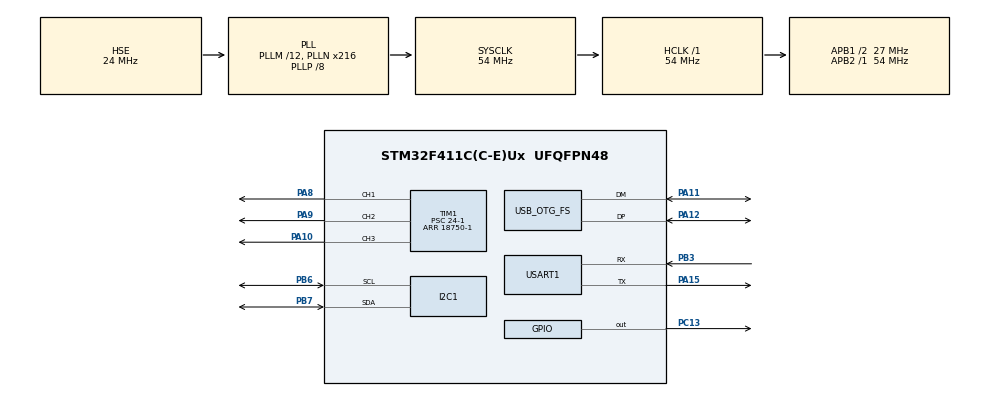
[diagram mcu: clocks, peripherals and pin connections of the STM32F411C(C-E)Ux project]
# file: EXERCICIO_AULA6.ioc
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Mcu.Family=STM32F4
Mcu.Name=STM32F411C(C-E)Ux
Mcu.Package=UFQFPN48
NVIC.OTG_FS_IRQn=true\:0\:0\:true\:false\:true\:false\:true\:true
NVIC.PriorityGroup=NVIC_PRIORITYGROUP_4
PA10.Signal=S_TIM1_CH3
PA11.Mode=Device_Only
PA11.Signal=USB_OTG_FS_DM
PA12.Mode=Device_Only
PA12.Signal=USB_OTG_FS_DP
PA13.Mode=Serial_Wire
PA13.Signal=SYS_JTMS-SWDIO
PA14.Mode=Serial_Wire
PA14.Signal=SYS_JTCK-SWCLK
PA15.Mode=Asynchronous
PA15.Signal=USART1_TX
PA2.Signal=S_TIM2_CH3
PA8.Signal=S_TIM1_CH1
PA9.Signal=S_TIM1_CH2
PB3.Mode=Asynchronous
PB3.Signal=USART1_RX
PB6.Mode=I2C
PB6.Signal=I2C1_SCL
PB7.Mode=I2C
PB7.Signal=I2C1_SDA
PC13-ANTI_TAMP.GPIO_PuPd=GPIO_PULLUP
PC13-ANTI_TAMP.Signal=GPIO_Output
PH0\ -\ OSC_IN.Mode=HSE-External-Oscillator
PH0\ -\ OSC_IN.Signal=RCC_OSC_IN
PH1\ -\ OSC_OUT.Mode=HSE-External-Oscillator
PH1\ -\ OSC_OUT.Signal=RCC_OSC_OUT
ProjectManager.HeapSize=0x200
ProjectManager.StackSize=0x400
ProjectManager.TargetToolchain=STM32CubeIDE
RCC.48MHZClocksFreq_Value=48000000
RCC.AHBFreq_Value=54000000
RCC.APB1CLKDivider=RCC_HCLK_DIV2
RCC.APB1Freq_Value=27000000
RCC.APB1TimFreq_Value=54000000
RCC.APB2Freq_Value=54000000
RCC.APB2TimFreq_Value=54000000
RCC.CortexFreq_Value=54000000
RCC.HCLKFreq_Value=54000000
RCC.HSE_VALUE=24000000
RCC.HSI_VALUE=16000000
RCC.LSE_VALUE=32768
RCC.PLLM=12
RCC.PLLN=216
RCC.PLLP=RCC_PLLP_DIV8
RCC.PLLQ=9
RCC.SYSCLKFreq_VALUE=54000000
RCC.SYSCLKSource=RCC_SYSCLKSOURCE_PLLCLK
RCC.VCOOutputFreq_Value=432000000
SH.S_TIM1_CH1.0=TIM1_CH1,Output Compare1 CH1
SH.S_TIM1_CH2.0=TIM1_CH2,Output Compare2 CH2
SH.S_TIM1_CH3.0=TIM1_CH3,Output Compare3 CH3
SH.S_TIM2_CH3.0=TIM2_CH3
TIM1.Channel-Output\ Compare1\ CH1=TIM_CHANNEL_1
TIM1.Channel-Output\ Compare2\ CH2=TIM_CHANNEL_2
TIM1.Channel-Output\ Compare3\ CH3=TIM_CHANNEL_3
TIM1.OCMode_1=TIM_OCMODE_TOGGLE
TIM1.OCMode_2=TIM_OCMODE_TOGGLE
TIM1.OCMode_3=TIM_OCMODE_TOGGLE
TIM1.OCPolarity_1=TIM_OCPOLARITY_LOW
TIM1.OCPolarity_2=TIM_OCPOLARITY_HIGH
TIM1.OCPolarity_3=TIM_OCPOLARITY_HIGH
TIM1.Period=18750-1
TIM1.Prescaler=24-1
TIM1.Pulse-Output\ Compare1\ CH1=9375-1
TIM1.Pulse-Output\ Compare2\ CH2=3125-1
TIM1.Pulse-Output\ Compare3\ CH3=15625-1
USART1.VirtualMode=VM_ASYNC
USB_DEVICE.CLASS_NAME_FS=CDC
USB_DEVICE.VirtualMode=Cdc
USB_DEVICE.VirtualModeFS=Cdc_FS
USB_OTG_FS.VirtualMode=Device_Only
VP_TIM1_VS_ClockSourceINT.Mode=Internal
VP_USB_DEVICE_VS_USB_DEVICE_CDC_FS.Mode=CDC_FS
board=custom

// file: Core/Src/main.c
/* USER CODE BEGIN Header */
/**
 ******************************************************************************
 * @file           : main.c
 * @brief          : Main program body
 ******************************************************************************
 * @attention
 *
 * Copyright (c) 2024 STMicroelectronics.
 * All rights reserved.
 *++++++++++++++
 * This software is licensed under terms that can be found in the LICENSE file
 * in the root directory of this software component.
 * If no LICENSE file comes with this software, it is provided AS-IS.
 *
 ******************************************************************************
 */
/* USER CODE END Header */
#include "main.h"
#include "usb_device.h"

/* USER CODE BEGIN PD */
#define RESPONSE_BUFFER_SIZE 5000
//#define COUNTER
#define GRAPH
//#define FREQLCD
//#define PHASELCD
//#define BLE
//#define FREQCOUNTER
/* USER CODE END PD */

I2C_HandleTypeDef hi2c1;

TIM_HandleTypeDef htim1;

UART_HandleTypeDef huart1;

/* USER CODE BEGIN PV */
HAL_StatusTypeDef RET;
uint16_t pinStateCH1, pinStateCH2, pinStateCH3;
float frequency, phaseDiff;
char buffer[64];
/* USER CODE END PV */

void SystemClock_Config(void);
static void MX_GPIO_Init(void);
static void MX_TIM1_Init(void);
static void MX_I2C1_Init(void);
static void MX_USART1_UART_Init(void);
/* USER CODE BEGIN PFP */
extern uint8_t CDC_Transmit_FS(uint8_t *Buf, uint16_t Len);
extern void lcd_send_cmd(char cmd);
extern void lcd_send_data(char data);
extern void lcd_clear(void);
extern void lcd_put_cur(int row, int col);
extern void lcd_init(void);
extern void lcd_send_string(char *str);
void sendATCommand(const char *command, uint32_t timeOut);
void USART_SendChar(char ch);
char USART_ReceiveChar(void);
/* USER CODE END PFP */

int main(void)
{

  /* MCU Configuration--------------------------------------------------------*/

  /* Reset of all peripherals, Initializes the Flash interface and the Systick. */
  HAL_Init();

  /* Configure the system clock */
  SystemClock_Config();

  /* Initialize all configured peripherals */
  MX_GPIO_Init();
  MX_USB_DEVICE_Init();
  MX_TIM1_Init();
  MX_I2C1_Init();
  MX_USART1_UART_Init();
  /* USER CODE BEGIN 2 */
	lcd_init();
	lcd_clear();

	if (HAL_TIM_OC_Start(&htim1, TIM_CHANNEL_1) == HAL_OK)
		if (HAL_TIM_OC_Start(&htim1, TIM_CHANNEL_2) == HAL_OK)
			if (HAL_TIM_OC_Start(&htim1, TIM_CHANNEL_3) == HAL_OK)
				HAL_GPIO_WritePin(GPIOC, GPIO_PIN_13, GPIO_PIN_RESET);

  /* USER CODE END 2 */

  /* Infinite loop */
  /* USER CODE BEGIN WHILE */
	while (1) {
		#if defined(COUNTER)
			sprintf(buffer, "CNT: %d\r\nCCR1: %d\r\nCCR2: %d\r\nCCR3: %d\r\n", TIM1->CNT, TIM1->CCR1, TIM1->CCR2, TIM1->CCR3);
			CDC_Transmit_FS(buffer, strlen(buffer));
		#elif defined(GRAPH)
			pinStateCH1 = HAL_GPIO_ReadPin(GPIOA, GPIO_PIN_8);
			pinStateCH2 = HAL_GPIO_ReadPin(GPIOA, GPIO_PIN_9);
			pinStateCH3 = HAL_GPIO_ReadPin(GPIOA, GPIO_PIN_10);
			sprintf(buffer, "%d\t%d\t%d\n", pinStateCH1, pinStateCH2, pinStateCH3);
			CDC_Transmit_FS((uint8_t *)buffer, strlen(buffer));
		#elif defined(FREQLCD)
			lcd_put_cur(0, 0);
			lcd_send_string("FREQ CH1: ");
			HAL_Delay(40);
			frequency = (float)HAL_RCC_GetPCLK2Freq() / (TIM1->PSC + 1) / (TIM1->ARR + 1) / 2;
			sprintf(buffer, "%.2f Hz", frequency);
			lcd_put_cur(0, 10);
			lcd_send_string(buffer);
			HAL_Delay(50);
		#elif defined(PHASELCD)
			lcd_put_cur(0, 0);
			lcd_send_string("PHASE CH1CH2: ");
			HAL_Delay(40);
			phaseDiff = (2.0 * (TIM1->ARR + 1) / 3.0) / ((2.0 * TIM1->ARR + 1)) * 360.0;
			sprintf(buffer, "%.2f", phaseDiff);
			lcd_put_cur(0, 14);
			lcd_send_string(buffer);
		#elif defined(BLE)
			pinStateCH1 = HAL_GPIO_ReadPin(GPIOA, GPIO_PIN_8);
			pinStateCH2 = HAL_GPIO_ReadPin(GPIOA, GPIO_PIN_9);
			pinStateCH3 = HAL_GPIO_ReadPin(GPIOA, GPIO_PIN_10);
			sprintf(buffer, "%d %d %d\r\n", pinStateCH1, pinStateCH2, pinStateCH3);
			HAL_UART_Transmit(&huart1, (uint8_t *)buffer, strlen(buffer), 50);
		#elif defined(FREQCOUNTER)
			pinStateCH1 = HAL_GPIO_ReadPin(GPIOA, GPIO_PIN_8);
			sprintf(buffer, "%d\n", pinStateCH1);
			CDC_Transmit_FS((uint8_t *)buffer, strlen(buffer));
		#endif
    /* USER CODE END WHILE */

	}
}

void SystemClock_Config(void)
{
  RCC_OscInitTypeDef RCC_OscInitStruct = {0};
  RCC_ClkInitTypeDef RCC_ClkInitStruct = {0};

  /** Configure the main internal regulator output voltage
  */
  __HAL_RCC_PWR_CLK_ENABLE();
  __HAL_PWR_VOLTAGESCALING_CONFIG(PWR_REGULATOR_VOLTAGE_SCALE1);

  /** Initializes the RCC Oscillators according to the specified parameters
  * in the RCC_OscInitTypeDef structure.
  */
  RCC_OscInitStruct.OscillatorType = RCC_OSCILLATORTYPE_HSE;
  RCC_OscInitStruct.HSEState = RCC_HSE_ON;
  RCC_OscInitStruct.PLL.PLLState = RCC_PLL_ON;
  RCC_OscInitStruct.PLL.PLLSource = RCC_PLLSOURCE_HSE;
  RCC_OscInitStruct.PLL.PLLM = 12;
  RCC_OscInitStruct.PLL.PLLN = 216;
  RCC_OscInitStruct.PLL.PLLP = RCC_PLLP_DIV8;
  RCC_OscInitStruct.PLL.PLLQ = 9;
  if (HAL_RCC_OscConfig(&RCC_OscInitStruct) != HAL_OK)
  {
    Error_Handler();
  }

  /** Initializes the CPU, AHB and APB buses clocks
  */
  RCC_ClkInitStruct.ClockType = RCC_CLOCKTYPE_HCLK|RCC_CLOCKTYPE_SYSCLK
                              |RCC_CLOCKTYPE_PCLK1|RCC_CLOCKTYPE_PCLK2;
  RCC_ClkInitStruct.SYSCLKSource = RCC_SYSCLKSOURCE_PLLCLK;
  RCC_ClkInitStruct.AHBCLKDivider = RCC_SYSCLK_DIV1;
  RCC_ClkInitStruct.APB1CLKDivider = RCC_HCLK_DIV2;
  RCC_ClkInitStruct.APB2CLKDivider = RCC_HCLK_DIV1;

  if (HAL_RCC_ClockConfig(&RCC_ClkInitStruct, FLASH_LATENCY_1) != HAL_OK)
  {
    Error_Handler();
  }
}

static void MX_I2C1_Init(void)
{

  hi2c1.Instance = I2C1;
  hi2c1.Init.ClockSpeed = 100000;
  hi2c1.Init.DutyCycle = I2C_DUTYCYCLE_2;
  hi2c1.Init.OwnAddress1 = 0;
  hi2c1.Init.AddressingMode = I2C_ADDRESSINGMODE_7BIT;
  hi2c1.Init.DualAddressMode = I2C_DUALADDRESS_DISABLE;
  hi2c1.Init.OwnAddress2 = 0;
  hi2c1.Init.GeneralCallMode = I2C_GENERALCALL_DISABLE;
  hi2c1.Init.NoStretchMode = I2C_NOSTRETCH_DISABLE;
  if (HAL_I2C_Init(&hi2c1) != HAL_OK)
  {
    Error_Handler();
  }

}

static void MX_TIM1_Init(void)
{

  TIM_ClockConfigTypeDef sClockSourceConfig = {0};
  TIM_MasterConfigTypeDef sMasterConfig = {0};
  TIM_OC_InitTypeDef sConfigOC = {0};
  TIM_BreakDeadTimeConfigTypeDef sBreakDeadTimeConfig = {0};

  htim1.Instance = TIM1;
  htim1.Init.Prescaler = 24-1;
  htim1.Init.CounterMode = TIM_COUNTERMODE_UP;
  htim1.Init.Period = 18750-1;
  htim1.Init.ClockDivision = TIM_CLOCKDIVISION_DIV1;
  htim1.Init.RepetitionCounter = 0;
  htim1.Init.AutoReloadPreload = TIM_AUTORELOAD_PRELOAD_DISABLE;
  if (HAL_TIM_Base_Init(&htim1) != HAL_OK)
  {
    Error_Handler();
  }
  sClockSourceConfig.ClockSource = TIM_CLOCKSOURCE_INTERNAL;
  if (HAL_TIM_ConfigClockSource(&htim1, &sClockSourceConfig) != HAL_OK)
  {
    Error_Handler();
  }
  if (HAL_TIM_OC_Init(&htim1) != HAL_OK)
  {
    Error_Handler();
  }
  sMasterConfig.MasterOutputTrigger = TIM_TRGO_RESET;
  sMasterConfig.MasterSlaveMode = TIM_MASTERSLAVEMODE_DISABLE;
  if (HAL_TIMEx_MasterConfigSynchronization(&htim1, &sMasterConfig) != HAL_OK)
  {
    Error_Handler();
  }
  sConfigOC.OCMode = TIM_OCMODE_TOGGLE;
  sConfigOC.Pulse = 9375-1;
  sConfigOC.OCPolarity = TIM_OCPOLARITY_LOW;
  sConfigOC.OCNPolarity = TIM_OCNPOLARITY_HIGH;
  sConfigOC.OCFastMode = TIM_OCFAST_DISABLE;
  sConfigOC.OCIdleState = TIM_OCIDLESTATE_RESET;
  sConfigOC.OCNIdleState = TIM_OCNIDLESTATE_RESET;
  if (HAL_TIM_OC_ConfigChannel(&htim1, &sConfigOC, TIM_CHANNEL_1) != HAL_OK)
  {
    Error_Handler();
  }
  sConfigOC.Pulse = 3125-1;
  sConfigOC.OCPolarity = TIM_OCPOLARITY_HIGH;
  if (HAL_TIM_OC_ConfigChannel(&htim1, &sConfigOC, TIM_CHANNEL_2) != HAL_OK)
  {
    Error_Handler();
  }
  sConfigOC.Pulse = 15625-1;
  if (HAL_TIM_OC_ConfigChannel(&htim1, &sConfigOC, TIM_CHANNEL_3) != HAL_OK)
  {
    Error_Handler();
  }
  sBreakDeadTimeConfig.OffStateRunMode = TIM_OSSR_DISABLE;
  sBreakDeadTimeConfig.OffStateIDLEMode = TIM_OSSI_DISABLE;
  sBreakDeadTimeConfig.LockLevel = TIM_LOCKLEVEL_OFF;
  sBreakDeadTimeConfig.DeadTime = 0;
  sBreakDeadTimeConfig.BreakState = TIM_BREAK_DISABLE;
  sBreakDeadTimeConfig.BreakPolarity = TIM_BREAKPOLARITY_HIGH;
  sBreakDeadTimeConfig.AutomaticOutput = TIM_AUTOMATICOUTPUT_DISABLE;
  if (HAL_TIMEx_ConfigBreakDeadTime(&htim1, &sBreakDeadTimeConfig) != HAL_OK)
  {
    Error_Handler();
  }
  HAL_TIM_MspPostInit(&htim1);

}

static void MX_USART1_UART_Init(void)
{

  huart1.Instance = USART1;
  huart1.Init.BaudRate = 115200;
  huart1.Init.WordLength = UART_WORDLENGTH_8B;
  huart1.Init.StopBits = UART_STOPBITS_1;
  huart1.Init.Parity = UART_PARITY_NONE;
  huart1.Init.Mode = UART_MODE_TX_RX;
  huart1.Init.HwFlowCtl = UART_HWCONTROL_NONE;
  huart1.Init.OverSampling = UART_OVERSAMPLING_16;
  if (HAL_UART_Init(&huart1) != HAL_OK)
  {
    Error_Handler();
  }

}

static void MX_GPIO_Init(void)
{
  GPIO_InitTypeDef GPIO_InitStruct = {0};

  /* GPIO Ports Clock Enable */
  __HAL_RCC_GPIOC_CLK_ENABLE();
  __HAL_RCC_GPIOH_CLK_ENABLE();
  __HAL_RCC_GPIOA_CLK_ENABLE();
  __HAL_RCC_GPIOB_CLK_ENABLE();

  /*Configure GPIO pin Output Level */
  HAL_GPIO_WritePin(GPIOC, GPIO_PIN_13, GPIO_PIN_RESET);

  /*Configure GPIO pin : PC13 */
  GPIO_InitStruct.Pin = GPIO_PIN_13;
  GPIO_InitStruct.Mode = GPIO_MODE_OUTPUT_PP;
  GPIO_InitStruct.Pull = GPIO_PULLUP;
  GPIO_InitStruct.Speed = GPIO_SPEED_FREQ_LOW;
  HAL_GPIO_Init(GPIOC, &GPIO_InitStruct);

  /*Configure GPIO pin : PA2 */
  GPIO_InitStruct.Pin = GPIO_PIN_2;
  GPIO_InitStruct.Mode = GPIO_MODE_AF_PP;
  GPIO_InitStruct.Pull = GPIO_NOPULL;
  GPIO_InitStruct.Speed = GPIO_SPEED_FREQ_LOW;
  GPIO_InitStruct.Alternate = GPIO_AF1_TIM2;
  HAL_GPIO_Init(GPIOA, &GPIO_InitStruct);

}

/* USER CODE BEGIN 4 */

// CNT reaches CCR (All)
void HAL_TIM_OC_DelayElapsedCallback(TIM_HandleTypeDef *htim) {
	/*	if (htim->Instance == TIM2) {
	 if ((htim->Channel == HAL_TIM_ACTIVE_CHANNEL_3) && (TIM2->CNT > 2777) && (TIM2->CNT < 11111)) {
	 TIM2->CCR3 = 11111;
	 }
	 if ((htim->Channel == HAL_TIM_ACTIVE_CHANNEL_2) && (TIM2->CNT > 5555) && (TIM2->CNT < 13888)) {
	 TIM2->CCR2 = 13888;
	 }
	 if ((htim->Channel == HAL_TIM_ACTIVE_CHANNEL_2) && (TIM2->CNT > 13888)) {
	 TIM2->CCR2 = 5555;
	 TIM2->CCR3 = 2777;
	 }
	 }*/
}

void sendATCommand(const char *command, uint32_t timeOut) {
	char response[RESPONSE_BUFFER_SIZE];
	memset(response, 0, RESPONSE_BUFFER_SIZE);

	// Send the AT command
	HAL_UART_Transmit(&huart1, command, strlen(command), timeOut);
	CDC_Transmit_FS(command, strlen(command)); // Pra ver tb na serial

	// Wait for response
	HAL_UART_Receive(&huart1, response, RESPONSE_BUFFER_SIZE, timeOut);
	CDC_Transmit_FS(response, strlen(response)); // Pra ver tb na serial
}

// Send a character via USART2
void USART_SendChar(char ch) {
    HAL_UART_Transmit(&huart1, (uint8_t *)&ch, 1, HAL_MAX_DELAY);
}

// Receive a character via USART2
char USART_ReceiveChar(void) {
    uint8_t ch;
    HAL_UART_Receive(&huart1, &ch, 1, HAL_MAX_DELAY);
    return (char)ch;
}

/* USER CODE END 4 */

void Error_Handler(void)
{
	__disable_irq();
	while (1) {
	}
}
